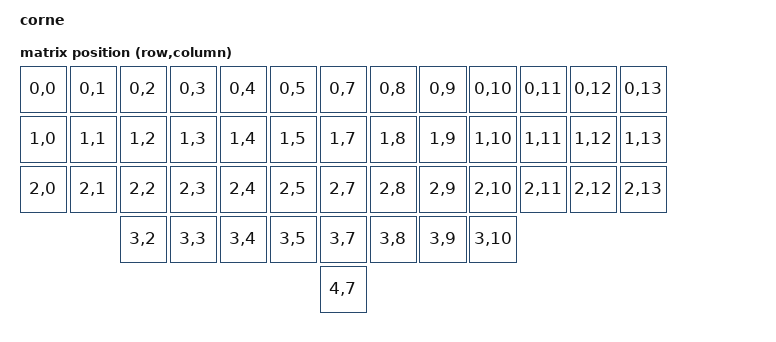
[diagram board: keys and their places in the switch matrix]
/*
*
* Copyright (c) 2021 Darryl deHaan
* SPDX-License-Identifier: MIT
*
*/

/dts-v1/;
#include <nordic/nrf52840_qiaa.dtsi>
#include <dt-bindings/led/led.h>
#include <dt-bindings/zmk/matrix_transform.h>

/ {
    model = "corne";
    compatible = "corne";

    chosen {
        zephyr,code-partition = &code_partition;
        zephyr,sram = &sram0;
        zephyr,flash = &flash0;
        zmk,kscan = &kscan0;
        zephyr,display = &oled;
        zephyr,console = &cdc_acm_uart;
        zmk,underglow = &led_strip;
        zmk,matrix-transform = &default_transform;
    };

	left_encoder: encoder_left {
		compatible = "alps,ec11";
		label = "LEFT_ENCODER";
		resolution = <4>;
		status = "disabled";
	};

    sensors {
		compatible = "zmk,keymap-sensors";
		sensors = <&left_encoder>;
	};
    
    default_transform: keymap_transform_0 {
        compatible = "zmk,matrix-transform";
        columns = <14>;
        rows = <5>;
                    map = <
            RC(0,0) RC(0,1) RC(0,2) RC(0,3) RC(0,4) RC(0,5)  RC(0,7) RC(0,8) RC(0,9) RC(0,10) RC(0,11) RC(0,12) RC(0,13)
            RC(1,0) RC(1,1) RC(1,2) RC(1,3) RC(1,4) RC(1,5)  RC(1,7) RC(1,8) RC(1,9) RC(1,10) RC(1,11) RC(1,12) RC(1,13)
            RC(2,0) RC(2,1) RC(2,2) RC(2,3) RC(2,4) RC(2,5)  RC(2,7) RC(2,8) RC(2,9) RC(2,10) RC(2,11) RC(2,12) RC(2,13)
                            RC(3,2) RC(3,3) RC(3,4) RC(3,5)  RC(3,7) RC(3,8) RC(3,9) RC(3,10)
                                                             RC(4,7) 
        >;
    };
};

&adc {
    status = "okay";
};

&gpiote {
    status = "okay";
};

&gpio0 {
    status = "okay";
};

&gpio1 {
    status = "okay";
};

&usbd {
    status = "okay";
    cdc_acm_uart: cdc_acm_uart {
        compatible = "zephyr,cdc-acm-uart";
    };
};

&flash0 {
    /*
     * For more information, see:
     * http://docs.zephyrproject.org/latest/devices/dts/flash_partitions.html
     */
    partitions {
        compatible = "fixed-partitions";
        #address-cells = <1>;
        #size-cells = <1>;

        sd_partition: partition@0 {
            reg = <0x00000000 0x00026000>;
        };
        code_partition: partition@26000 {
            reg = <0x00026000 0x000c6000>;
        };

        /*
         * The flash starting at 0x000ec000 and ending at
         * 0x000f3fff is reserved for use by the application.
         */

        /*
         * Storage partition will be used by FCB/LittleFS/NVS
         * if enabled.
         */
        storage_partition: partition@ec000 {
            reg = <0x000ec000 0x00008000>;
        };

        boot_partition: partition@f4000 {
            reg = <0x000f4000 0x0000c000>;
        };
    };
};

&pinctrl {
    i2c0_default: i2c0_default {
        group1 {
            psels = <NRF_PSEL(TWIM_SDA, 0, 17)>,
                <NRF_PSEL(TWIM_SCL, 0, 20)>;
        };
    };

    i2c0_sleep: i2c0_sleep {
        group1 {
            psels = <NRF_PSEL(TWIM_SDA, 0, 17)>,
                <NRF_PSEL(TWIM_SCL, 0, 20)>;
            low-power-enable;
        };
    };

    spi3_default: spi3_default {
        group1 {
            psels = <NRF_PSEL(SPIM_MOSI, 1, 12)>; // WS2812_VEXT_DATA
        };
    };

    spi3_sleep: spi3_sleep {
        group1 {
            psels = <NRF_PSEL(SPIM_MOSI, 1, 12)>;
            low-power-enable;
        };
    };
};

&i2c0 {
	status = "okay";

	compatible = "nordic,nrf-twi";
	pinctrl-0 = <&i2c0_default>;
	pinctrl-1 = <&i2c0_sleep>;
	pinctrl-names = "default", "sleep";
	oled: ssd1306@3c {
		compatible = "solomon,ssd1306fb";
		reg = <0x3c>;
		label = "DISPLAY";
		width = <128>;
		height = <32>;
		segment-offset = <0>;
		page-offset = <0>;
		display-offset = <0>;
		multiplex-ratio = <31>;
		segment-remap;
		com-invdir;
		com-sequential;
		prechargep = <0x22>;
	};
};

&spi3 {
    compatible = "nordic,nrf-spim";
    status = "okay";

    pinctrl-0 = <&spi3_default>;
    pinctrl-1 = <&spi3_sleep>;
    pinctrl-names = "default", "sleep";

    led_strip: ws2812@0 {
        compatible = "worldsemi,ws2812-spi";

        /* SPI */
        reg = <0>; /* ignored, but necessary for SPI bindings */
        spi-max-frequency = <4000000>;

        /* WS2812 */
        chain-length = <6>; 
        spi-one-frame = <0x70>;
        spi-zero-frame = <0x40>;

        color-mapping = <LED_COLOR_ID_GREEN LED_COLOR_ID_RED LED_COLOR_ID_BLUE>;
    };
};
